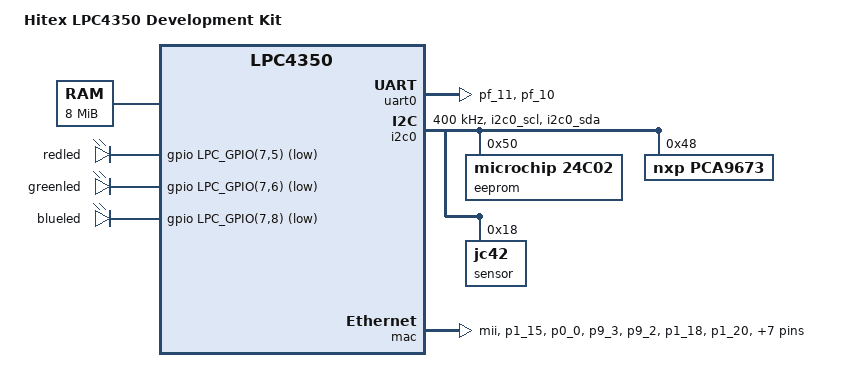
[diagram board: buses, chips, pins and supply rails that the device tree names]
/*
 * Hitex LPC4350 Development Kit
 *
 * Copyright (C) 2014 VanguardiaSur - www.vanguardiasur.com.ar
 *
 */

/dts-v1/;

#include <dt-bindings/gpio/gpio.h>

#include "lpc18xx.dtsi"

&pinctrl {

	uart0_pins: uart0-pins {
		uart0_rx_cfg {
			pins = "pf_11";
			function = "uart0";
			bias-disable;
			input-enable;
		};

		uart0_tx_cfg {
			pins = "pf_10";
			function = "uart0";
			bias-disable;
		};
	};

	i2c0_pins: i2c0-pins {
		i2c0_pins_cfg {
			pins = "i2c0_scl", "i2c0_sda";
			function = "i2c0";
			input-enable;
		};
	};

	rgb_pins: pinmux_led_pins {
		redled_cfg {
			pins = "pe_5";
			function = "gpio";
		};

		greenled_cfg {
			pins = "pe_6";
			function = "gpio";
		};

		blueled_cfg {
			pins = "pe_8";
			function = "gpio";
		};
	};

	enet_mii_pins: enet-mii-pins {

		enet_mii_rxd_cfg {
			pins = "p1_15", "p0_0", "p9_3", "p9_2";
			function = "enet";
			input-enable;
		};

		enet_mii_txd_cfg {
			pins = "p1_18", "p1_20", "p9_4", "p9_5";
			function = "enet";
		};

		enet_mii_crs_cfg {
			pins = "p9_0";
			function = "enet";
			input-enable;
		};

		enet_mii_tx_clk_cfg {
			pins = "p1_19";
			function = "enet";
			input-enable;
		};

		enet_mii_rx_clk_cfg {
			pins = "pc_0";
			function = "enet";
			input-enable;
		};

		enet_mmi_rx_er_cfg {
			pins = "p9_1";
			function = "enet";
			input-enable;
		};

		enet_mmi_tx_en_cfg {
			pins = "p0_1";
			function = "enet";
		};

	};

};

&uart0 {
	status = "okay";
	pinctrl-names = "default";
	pinctrl-0 = <&uart0_pins>;
};

&i2c0 {
	status = "okay";
	pinctrl-names = "default";
	pinctrl-0 = <&i2c0_pins>;
	clock-frequency = <400000>;

	eeprom@50 {
		compatible = "microchip,24c02";
		reg = <0x50>;
	};

	pca9673@48 {
		/* FIXME: Not detected by i2cdetect. Need jumper setting? */
		compatible = "nxp,pca9673";
		reg = <0x48>;
	};

	sensor@18 {
		compatible = "jc42";
		reg = <0x18>;
	};
};

&mac {
	status = "okay";
	phy-mode = "mii";
	pinctrl-names = "default";
	pinctrl-0 = <&enet_mii_pins>;
};

&enet_tx_clk {
	clock-frequency = <25000000>;
};

/ {
	model = "Hitex LPC4350 Development Kit";
	compatible = "hitex,lpc4350-devkit", "nxp,lpc18xx";

	chosen {
		bootargs = "console=ttyS0,115200 earlyprintk";
	};

	memory {
		device_type = "memory";
		reg = <0x28000000 0x800000>;
	};

	gpio_leds {
		compatible = "gpio-leds";

		pinctrl-names = "default";
		pinctrl-0 = <&rgb_pins>;

		red {
			label = "redled";
			gpios = <&gpio LPC_GPIO(7,5) GPIO_ACTIVE_LOW>;
			default-state = "off";
		};

		green {
			label = "greenled";
			gpios = <&gpio LPC_GPIO(7,6) GPIO_ACTIVE_LOW>;
			default-state = "off";
		};

		blue {
			label = "blueled";
			gpios = <&gpio LPC_GPIO(7,8) GPIO_ACTIVE_LOW>;
			default-state = "off";
		};
	};

};
